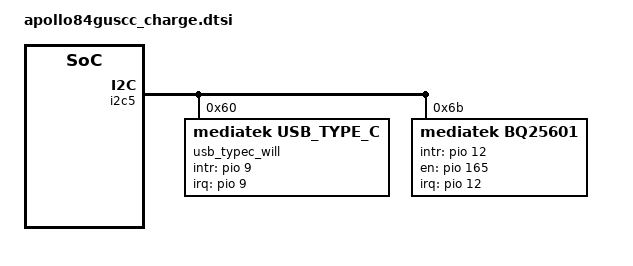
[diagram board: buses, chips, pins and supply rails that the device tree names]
// SPDX-License-Identifier: GPL-2.0+
&mt6370_pmu {
	status = "disabled";
};

&mt6370_typec {
	status = "disabled";
};

&mt6370_chg {
/* 0  mt6370 get bc12, 1 mtk_charger_type get bc12, 2 ext_charger_type get bc12 */
	bc12_sel = <1>;
	status = "disabled";
};

&mt6357_charger {
	status = "disabled";
};

&mtk_charger_type {
	bc12_active = <1>;
};

&usb {
	charger = <&mtk_charger_type>;
};

&extcon_usb {
	charger = <&mtk_charger_type>;
	vbus-supply;
};

&pe {
	status = "disabled";
};

&pe2 {
	status = "disabled";
};

&pe4 {
	status = "disabled";
};

&pdc {
	status = "disabled";
};

&lk_charger {
	compatible = "mediatek,lk_charger";
	enable_anime;
	power_path_support;

	/* common */
	max_charger_voltage = <6500000>;
	fast_charge_voltage = <2800000>;

	/* charging current */
	usb_charger_current = <500000>;
	ac_charger_current = <1000000>;
	ac_charger_input_current = <2050000>;
	non_std_ac_charger_current = <500000>;
	charging_host_charger_current = <500000>;

	/* battery temperature protection */
	temp_t4_threshold = <55>;
	temp_t3_threshold = <45>;
	temp_t1_threshold = <6>;
	temp_t0_threshold = <1>;

	/*charging indicator*/
	led_brightness = <127>;
	blinking_times = <6>;
	blinking_period = <1500>;
};

&charger {
	compatible = "mediatek,charger";
	charger = <&mtk_charger_type>;
	/delete-property/enable_pe_plus;
	/delete-property/enable_pe_2;
	/delete-property/enable_pe_3;
	/delete-property/enable_pe_4;
	/delete-property/enable_type_c;
	/delete-property/enable_min_charge_temp;
	/delete-property/enable_dynamic_mivr;

	/* common */
	power_path_support;
	battery_cv = <4400000>;

	/* charging current */
	ac_charger_input_current = <2050000>;
	ac_charger_current = <2000000>;
	charging_host_charger_current = <1300000>;

	/* sw jeita */
	enable_sw_jeita;
	jeita_temp_above_t4_cv = <4100000>;
	jeita_temp_t3_to_t4_cv = <4100000>;
	jeita_temp_t2_to_t3_cv = <4400000>;
	jeita_temp_t1_to_t2_cv = <4400000>;
	jeita_temp_t0_to_t1_cv = <4400000>;
	jeita_temp_below_t0_cv = <4400000>;
	jeita_temp_above_t4_current = <0>;
	jeita_temp_t3_to_t4_current = <1200000>;
	jeita_temp_t2_to_t3_current = <2000000>;
	jeita_temp_t1_to_t2_current = <800000>;
	jeita_temp_t0_to_t1_current = <800000>;
	jeita_temp_below_t0_current = <0>;

	temp_t4_thres = <55>;
	temp_t4_thres_minus_x_degree = <50>;
	temp_t3_thres = <43>;
	temp_t3_thres_minus_x_degree = <42>;
	temp_t2_thres = <11>;
	temp_t2_thres_plus_x_degree = <10>;
	temp_t1_thres = <6>;
	temp_t1_thres_plus_x_degree = <5>;
	temp_t0_thres = <1>;
	temp_t0_thres_plus_x_degree = <0>;
	temp_neg_10_thres = <1>;

	/* battery temperature protection */
	enable_min_charge_temp;
	min_charge_temp = <1>;
	min_charge_temp_plus_x_degree = <2>;
	max_charge_temp = <55>;
	max_charge_temp_minus_x_degree = <51>;
};

&i2c5 {
/* Modify-start by baiwei.peng for usb otg function porting on 2021/11/15 */
	usb_typec_will:usb_type_c@60 {
		compatible = "mediatek,usb_type_c";
		reg = <0x60>;
		interrupt-parent = <&pio>;
		interrupts = <9 0>;
		wusb3801,intr_gpio = <&pio 9 0x0>;
		interrupt-names = "wusb3801_int_irq";
		status = "okay";
	};
/* Modify-end by baiwei.peng for usb otg function porting on 2021/11/15 */

	bq25601:bq25601@6B {
		compatible = "mediatek,bq25601";
		reg = <0x6B>;
		charger_name = "primary_chg";
		alias_name = "bq25601";
		interrupt-parent = <&pio>;
		interrupts = <12 0>;
		bq25601,intr_gpio = <&pio 12 0x0>;
		bq25601,en_gpio = <&pio 165 0x0>;
		status = "okay";
	};
};
